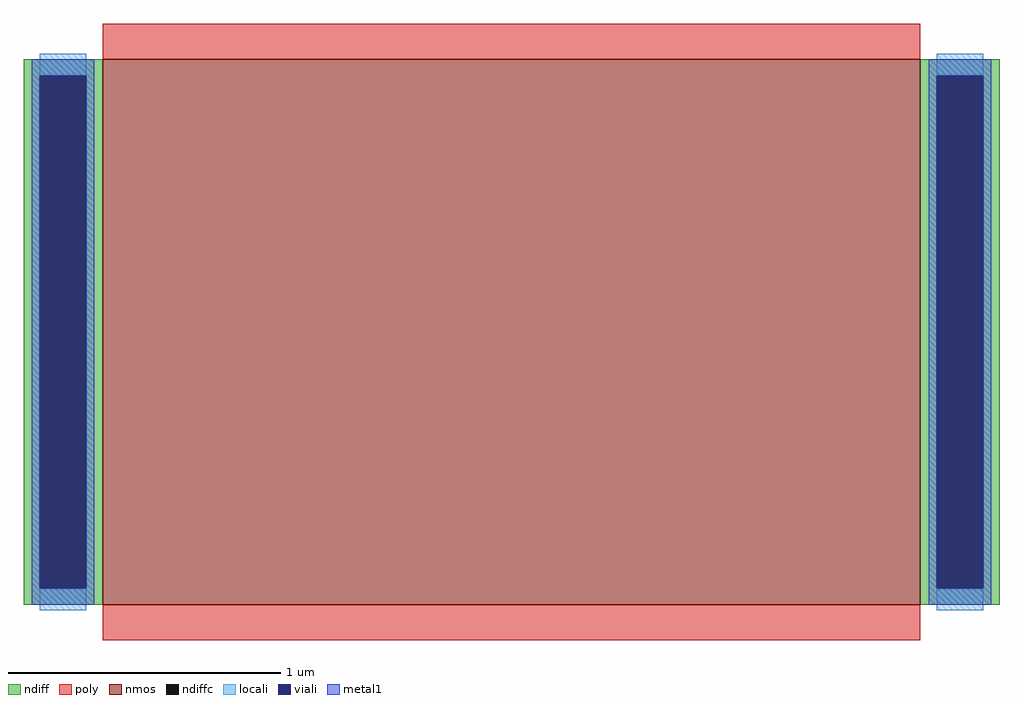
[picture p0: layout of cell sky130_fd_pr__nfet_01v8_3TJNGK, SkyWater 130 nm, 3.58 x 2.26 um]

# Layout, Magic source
magic
tech sky130A
<< nmos >>
rect -150 -100 150 100
<< ndiff >>
rect -179 94 -150 100
rect -179 -94 -173 94
rect -156 -94 -150 94
rect -179 -100 -150 -94
rect 150 94 179 100
rect 150 -94 156 94
rect 173 -94 179 94
rect 150 -100 179 -94
<< ndiffc >>
rect -173 -94 -156 94
rect 156 -94 173 94
<< poly >>
rect -150 100 150 113
rect -150 -113 150 -100
<< locali >>
rect -173 94 -156 102
rect -173 -102 -156 -94
rect 156 94 173 102
rect 156 -102 173 -94
<< viali >>
rect -173 -94 -156 94
rect 156 -94 173 94
<< metal1 >>
rect -176 94 -153 100
rect -176 -94 -173 94
rect -156 -94 -153 94
rect -176 -100 -153 -94
rect 153 94 176 100
rect 153 -94 156 94
rect 173 -94 176 94
rect 153 -100 176 -94
<< properties >>
string gencell sky130_fd_pr__nfet_01v8
string library sky130
string parameters w 2 l 3 m 1 nf 1 diffcov 100 polycov 100 guard 0 glc 0 grc 0 gtc 0 gbc 0 tbcov 100 rlcov 100 topc 0 botc 0 poverlap 0 doverlap 0 lmin 0.15 wmin 0.42 class mosfet compatible {sky130_fd_pr__nfet_01v8 sky130_fd_pr__nfet_01v8_lvt  sky130_fd_bs_flash__special_sonosfet_star  sky130_fd_pr__nfet_g5v0d10v5 sky130_fd_pr__nfet_05v0_nvt  sky130_fd_pr__nfet_03v3_nvt} full_metal 0 viasrc 100 viadrn 100 viagate 100 viagb 0 viagr 0 viagl 0 viagt 0
<< end >>
